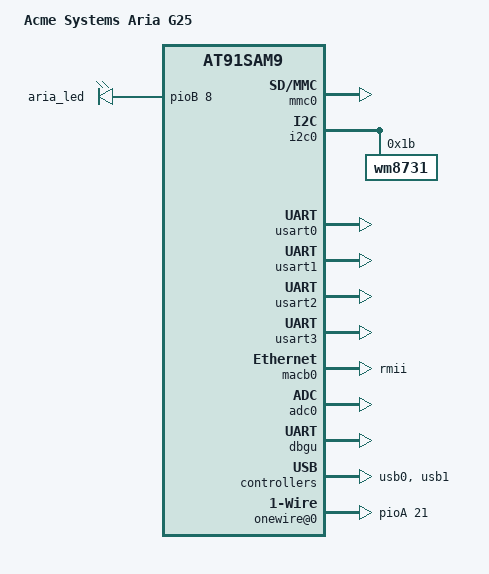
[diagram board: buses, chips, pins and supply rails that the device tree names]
/*
 * at91-ariag25.dts - Device Tree file for Acme Systems Aria G25
 *
 * Copyright (C) 2013 Douglas Gilbert <dgilbert@interlog.com>,
 *                    Robert Nelson <robertcnelson@gmail.com>
 *
 * Licensed under GPLv2 or later. 
 */
/dts-v1/;
#include "at91sam9g25.dtsi"

/ {
  model = "Acme Systems Aria G25";
  compatible = "acme,ariag25", "atmel,at91sam9x5ek",
         "atmel,at91sam9x5", "atmel,at91sam9";

  aliases {
    serial0 = &dbgu;
    serial1 = &usart0;
    serial2 = &usart1;
    serial3 = &usart2;
    serial4 = &usart3;
    serial5 = &uart0;
    serial6 = &uart1;
  };

  clocks {
    #address-cells = <1>;
    #size-cells = <1>;
    ranges;

    main_clock: clock@0 {
      compatible = "atmel,osc", "fixed-clock";
      clock-frequency = <12000000>;
    };
  };

  ahb {
    apb {
      mmc0: mmc@f0008000 {
        pinctrl-0 = <
          &pinctrl_mmc0_slot0_clk_cmd_dat0
          &pinctrl_mmc0_slot0_dat1_3>;
        status = "okay";
        slot@0 {
          reg = <0>;
          bus-width = <4>;
        };
      };
      
      ssc0: ssc@f0010000 {
        status = "okay";
      };

      i2c0: i2c@f8010000 {
        status = "okay";
        
        wm8731: wm8731@1b {
          compatible = "wm8731";
          reg = <0x1b>;
        };
      };

      i2c1: i2c@f8014000 {
        status = "disabled";
      };

      /* /dev/ttyS1 */
      usart0: serial@f801c000 {
        pinctrl-0 = <&pinctrl_usart0 &pinctrl_usart0_rts &pinctrl_usart0_cts>;
        
        
        status = "okay";
      };

      /* /dev/ttyS2 */
      usart1: serial@f8020000 {
        pinctrl-0 = <&pinctrl_usart1 &pinctrl_usart1_rts &pinctrl_usart1_cts>;
        
        
        status = "okay";
      };

      /* /dev/ttyS3 */
      usart2: serial@f8024000 {
        pinctrl-0 = <&pinctrl_usart2>;
        status = "okay";
      };

      /* /dev/ttyS4 */
      usart3: serial@f8028000 {
        compatible = "atmel,at91sam9260-usart";
        reg = <0xf8028000 0x200>;
        interrupts = <8 IRQ_TYPE_LEVEL_HIGH 5>;
        pinctrl-names = "default";
      
        pinctrl-0 = <&pinctrl_usart3 &pinctrl_usart3_rts &pinctrl_usart3_cts>;
        
        
         status = "okay";
      };

      /* /dev/ttyS5 */
      uart0: serial@f8040000 {
        status = "disabled";
      };

      /* /dev/ttyS6 */
      uart1: serial@f8044000 {
        status = "disabled";
      };

      macb0: ethernet@f802c000 {
        phy-mode = "rmii";
        local-mac-address = [00 04 25 21 43 65];
        status = "okay";
      };

      adc0: adc@f804c000 {
        status = "okay";
        atmel,adc-channels-used = <0xf>;
        atmel,adc-num-channels = <4>;
      };

      dbgu: serial@fffff200 {
        status = "okay";
      };

      pinctrl@fffff400 {
        w1_0 {
          pinctrl_w1_0: w1_0-0 {
            atmel,pins = <0 21 0x0 0x1>; /* PA21 PIO, pull-up */
          };
        };
      };

      rtc@fffffeb0 {
        status = "okay";
      };
    };

    usb0: ohci@00600000 {
      status = "okay";
      num-ports = <3>;
    };

    usb1: ehci@00700000 {
      status = "okay";
    };
  };

  leds {
    compatible = "gpio-leds";

    aria_led {
      label = "aria_led";
      gpios = <&pioB 8 GPIO_ACTIVE_HIGH>; /* PB8 */
      linux,default-trigger = "heartbeat";
    };

  };

  onewire@0 {
    compatible = "w1-gpio";
    gpios = <&pioA 21 GPIO_ACTIVE_LOW>;
    pinctrl-names = "default";
    pinctrl-0 = <&pinctrl_w1_0>;
  };
  
  sound {
	compatible = "atmel,sam9x5-wm8731-audio";

	atmel,model = "wm8731 @ AT91ARIAG25";

	atmel,audio-routing =
		"Headphone Jack", "RHPOUT",
		"Headphone Jack", "LHPOUT",
		"LLINEIN", "Line In Jack",
		"RLINEIN", "Line In Jack";

	atmel,ssc-controller = <&ssc0>;
	atmel,audio-codec = <&wm8731>;
  };
};
